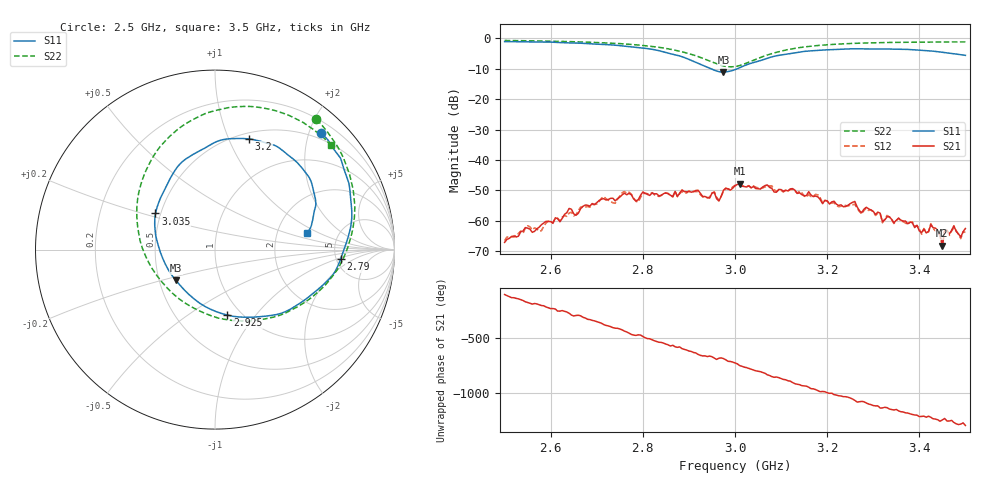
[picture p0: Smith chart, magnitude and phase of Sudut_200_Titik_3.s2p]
# Hz S RI R 50
! CMT, C1220, 16058040, 17.2.0/1
! Date: 15/08/2018 10:42:54
! Data: Format (Calibration Info)
! Freq  S11: Re/Im (F2)  S21: Re/Im (F2)  S12: Re/Im (F2)  S22: Re/Im (F2)
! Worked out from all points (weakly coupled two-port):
!   201 points, 2.5 GHz to 3.5 GHz, reference 50 ohm
!   highest |S21| = -47.78 dB at 3.01 GHz (marker M1); lowest = -68.2 dB at 3.45 GHz (marker M2)
!   lowest |S11| = -11.1 dB at 2.975 GHz (marker M3), VSWR 1.77, Z = 30.5 - j11.3 ohm
!   |S11| at or under -10 dB: 2.948 GHz to 3.005 GHz (57.9 MHz wide, 1.95 % of centre)
!   |S22| runs from -9.4 to -0.7 dB; largest |S21 - S12| = 0.00037
!   S11 on the Smith chart (normalised r, x): 2.5 GHz: 0.38, +2.21; 2.79 GHz: 5.44, -1.16; 2.925 GHz: 0.86, -0.73; 3.035 GHz: 0.47, +0.22; 3.2 GHz: 0.56, +1.19; 3.5 GHz: 2.98, +0.75
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2.5e9  0.5923 0.6513  -7.25e-05 -0.000436  -4.69e-05 -0.00047  0.5644 0.7249
2.67e9  0.7501 0.3429  0.00107 0.00136  0.00113 0.00129  0.7377 0.4532
2.74e9  0.7569 0.1321  0.00141 -0.00159  0.00139 -0.00135  0.7765 0.274
2.76e9  0.7393 0.0614  0.00073 -0.00274  0.000817 -0.00291  0.7782 0.2115
2.79e9  0.6992 -0.0541  -0.000745 -0.00209  -0.000807 -0.00187  0.766 0.1063
2.835e9  0.5873 -0.2099  -0.00257 -0.00011  -0.0025 -0.000198  0.7053 -0.0687
2.925e9  0.0688 -0.3648  0.00133 0.0025  0.00117 0.00241  0.2943 -0.3829
2.965e9  -0.1711 -0.2247  0.00172 0.00122  0.00178 0.00125  -0.0224 -0.3683
2.975e9  -0.2186 -0.1711  0.00268 0.00171  0.00262 0.00164  -0.0999 -0.3353
3e9  -0.3041 -0.0154  0.00373 -0.000524  0.00376 -0.000659  -0.2718 -0.2075
3.01e9  -0.3236 0.0499  0.00348 -0.00214  0.00338 -0.00192  -0.3264 -0.1409
3.035e9  -0.3316 0.2015  0.00146 -0.00316  0.00146 -0.00319  -0.417 0.0477
3.17e9  0.0884 0.6179  -0.00103 0.00227  -0.00125 0.00221  -0.0904 0.7411
3.2e9  0.1886 0.6168  0.000421 0.00208  0.000556 0.00206  0.0199 0.7789
3.335e9  0.4898 0.448  0.00039 -0.0011  0.000314 -0.00111  0.3936 0.755
3.405e9  0.5548 0.3034  -0.000484 -0.000422  -0.000435 -0.000416  0.5198 0.6881
3.425e9  0.562 0.2568  -0.000721 -0.000472  -0.000734 -0.00052  0.5498 0.6682
3.45e9  0.5513 0.2026  -0.000385 -6.23e-05  -0.000375 -7.66e-05  0.5859 0.6395
3.455e9  0.5486 0.1895  -0.000657 -0.000268  -0.000615 -0.00029  0.5925 0.6344
3.475e9  0.5383 0.1387  -0.000806 0.000203  -0.000744 0.000181  0.6165 0.6121
3.49e9  0.5251 0.1089  -0.000473 0.000265  -0.000407 0.000306  0.6342 0.5939
3.5e9  0.5151 0.0912  -0.000559 0.000497  -0.000427 0.000483  0.6454 0.5827
